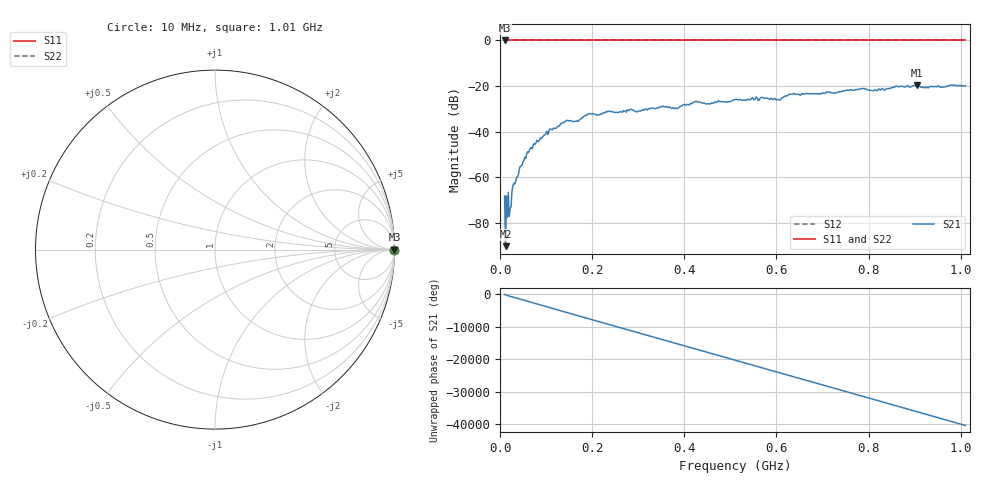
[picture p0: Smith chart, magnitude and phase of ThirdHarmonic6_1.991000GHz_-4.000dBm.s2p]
! 8/16/2025 11:55:41 PM
! C:\ANRITSUVNA\TEMP\TEMP.S2P
! CHANNEL.1
! TR.MEASUREMENT
! RAW.DATA
! RF.CORRECTION.OFF
! AVERAGING.OFF
! IF.BANDWIDTH: 5KHZ
! SWEEPTYPE:  FREQ.SWEEP(Linear)
! Reference Plane Port Info
! PORT:  PORT1  PORT2
! DISTANCE:  0  m  0  m
! TIME:  0  s  0  s
! PHASE.OFFSET:  0  deg.  0  deg.
! LOSS:  0  dB  0  dB
! REF.LOSS:  0  dB  0  dB
! REF.FREQ:  0  Hz  0  Hz
! Power Info
! POWER:  -20  dBm  -20  dBm
! EFF.POWER:  -20  dBm  -20  dBm
! SOURCE.ATTEN:  0  dB  0  dB
! TEST.ATTEN:  0  dB  0  dB
# GHZ S RI R 50.0
! FREQ.GHZ  S11RE  S11IM  S21RE  S21IM  S12RE  S12IM  S22RE  S22IM
!; PortSelection: Port_12
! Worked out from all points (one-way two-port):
!   501 points, 10 MHz to 1.01 GHz, reference 50 ohm
!   highest |S21| = -19.56 dB at 904 MHz (marker M1); lowest = -90.3 dB at 12 MHz (marker M2)
!   lowest |S11| = 0.0 dB at 10 MHz (marker M3)
!   |S11| at or under -10 dB: nowhere
!   |S22| runs from 0.0 to 0.0 dB; largest |S21 - S12| = 1.1
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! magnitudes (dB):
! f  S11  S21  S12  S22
! 10 MHz  0.0  -68.3  0.0  0.0
! 12 MHz  0.0  -90.3  0.0  0.0
! 20 MHz  0.0  -77.3  0.0  0.0
! 24 MHz  0.0  -72.9  0.0  0.0
! 30 MHz  0.0  -62.7  0.0  0.0
! 46 MHz  0.0  -55.1  0.0  0.0
! 62 MHz  0.0  -49.2  0.0  0.0
! 76 MHz  0.0  -45.6  0.0  0.0
! 142 MHz  0.0  -35.6  0.0  0.0
! 178 MHz  0.0  -34.0  0.0  0.0
! 194 MHz  0.0  -32.2  0.0  0.0
! 344 MHz  0.0  -29.7  0.0  0.0
! 382 MHz  0.0  -29.7  0.0  0.0
! 424 MHz  0.0  -26.9  0.0  0.0
! 452 MHz  0.0  -27.7  0.0  0.0
! 510 MHz  0.0  -25.9  0.0  0.0
! 604 MHz  0.0  -25.9  0.0  0.0
! 632 MHz  0.0  -23.6  0.0  0.0
! 678 MHz  0.0  -23.4  0.0  0.0
! 844 MHz  0.0  -21.1  0.0  0.0
! 904 MHz  0.0  -19.6  0.0  0.0
! 1.01 GHz  0.0  -19.9  0.0  0.0
